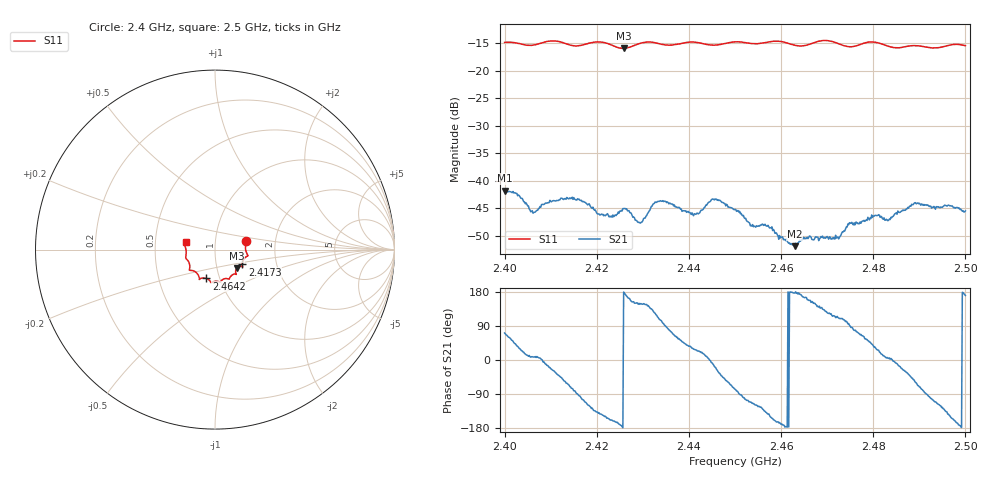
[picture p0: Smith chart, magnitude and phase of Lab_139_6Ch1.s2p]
# Hz S RI R 50
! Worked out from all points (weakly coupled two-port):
!   601 points, 2.4 GHz to 2.5 GHz, reference 50 ohm
!   highest |S21| = -41.77 dB at 2.4 GHz (marker M1); lowest = -51.9 dB at 2.463 GHz (marker M2)
!   lowest |S11| = -15.9 dB at 2.4258 GHz (marker M3), VSWR 1.38, Z = 62.2 - j13.3 ohm
!   |S11| at or under -10 dB: start of sweep to end of sweep
!   S12 and S22 are empty: the file has one direction only
!   S11 on the Smith chart (normalised r, x): 2.4 GHz: 1.41, +0.14; 2.4173 GHz: 1.34, -0.23; 2.4642 GHz: 0.86, -0.29; 2.5 GHz: 0.72, +0.06
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2.4e9  0.174 0.0493  0.0026 0.00773  0 0  0 0
2.402833e9  0.1742 0.0356  0.00593 0.00427  0 0  0 0
2.406167e9  0.1705 -0.00132  0.00502 0.000714  0 0  0 0
2.410333e9  0.1835 -0.0333  0.00588 -0.00288  0 0  0 0
2.416667e9  0.1529 -0.075  -0.00127 -0.00652  0 0  0 0
2.417333e9  0.1522 -0.0824  -0.00211 -0.00602  0 0  0 0
2.421167e9  0.1542 -0.0962  -0.00402 -0.00285  0 0  0 0
2.425833e9  0.1213 -0.1038  -0.00559 6.77e-05  0 0  0 0
2.4295e9  0.1167 -0.1345  -0.00353 0.00213  0 0  0 0
2.433333e9  0.1125 -0.1363  -0.00244 0.00603  0 0  0 0
2.441e9  0.0782 -0.1647  0.00422 0.00231  0 0  0 0
2.4455e9  0.0508 -0.163  0.00642 -0.00189  0 0  0 0
2.45e9  0.0295 -0.1806  0.00124 -0.00536  0 0  0 0
2.463e9  -0.0362 -0.1663  -0.00254 0.000128  0 0  0 0
2.464167e9  -0.048 -0.1609  -0.0028 0.000347  0 0  0 0
2.466667e9  -0.0762 -0.1594  -0.00265 0.00127  0 0  0 0
2.4725e9  -0.0889 -0.1516  -0.00104 0.00278  0 0  0 0
2.475e9  -0.1066 -0.1261  5.76e-05 0.00412  0 0  0 0
2.480167e9  -0.1429 -0.1133  0.00394 0.00267  0 0  0 0
2.483333e9  -0.1404 -0.0896  0.00437 0.000313  0 0  0 0
2.489333e9  -0.1629 -0.0449  0.00305 -0.00538  0 0  0 0
2.5e9  -0.1636 0.0414  -0.00524 0.000899  0 0  0 0
